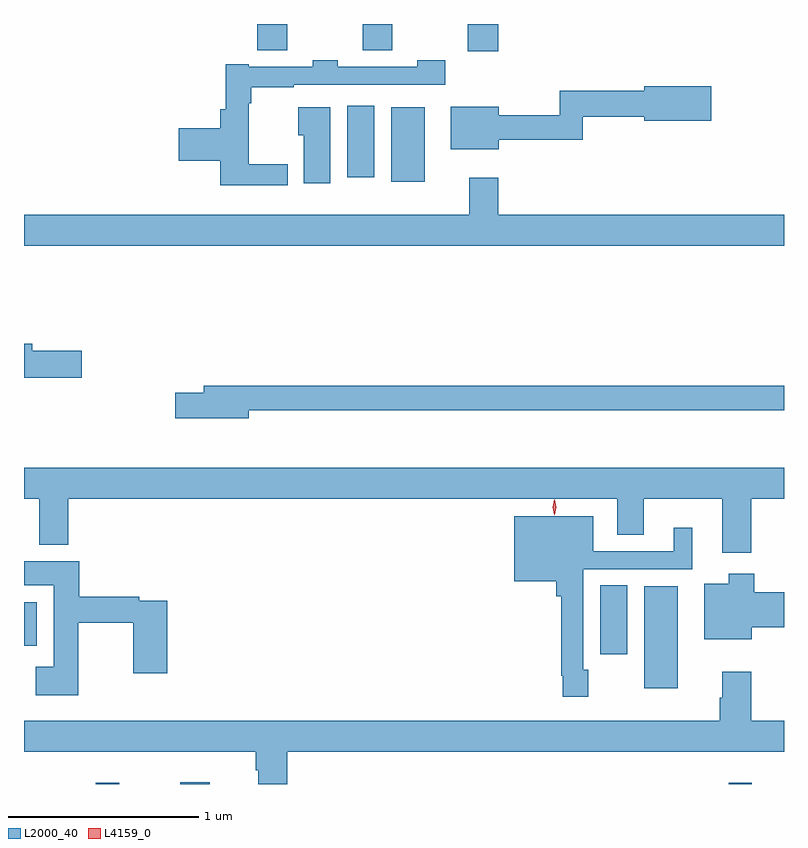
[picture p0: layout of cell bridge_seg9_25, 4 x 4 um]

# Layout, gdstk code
import gdstk
lib = gdstk.Library(unit=1e-6, precision=1e-09)
def R(c, l, rs):  # rectangles x0, y0, x1, y1
    for r in rs: c.add(gdstk.rectangle(r[:2], r[2:], *l))
def P(c, l, *ps):  # polygons
    for p in ps: c.add(gdstk.Polygon(p, *l))
L2000_40 = (2000, 40)
L4159_0 = (4159, 0)

bridge_seg9_25 = lib.new_cell('bridge_seg9_25')
R(bridge_seg9_25, L2000_40, [(1010.738,1200.247,1010.86,1200.253), (1011.182,1200.247,1011.337,1200.256), (1014.068,1200.247,1014.19,1200.253), (1013.624,1200.752,1013.8,1201.288), (1013.393,1200.93,1013.536,1201.292), (1010.36,1200.974,1010.428,1201.204), (1012.292,1203.416,1012.468,1203.808), (1012.061,1203.441,1012.204,1203.817), (1012.696,1204.104,1012.856,1204.247), (1011.587,1204.108,1011.746,1204.247), (1012.144,1204.108,1012.298,1204.247)])
P(bridge_seg9_25, L2000_40, [(1011.748,1203.508),(1011.542,1203.508),(1011.542,1203.83),(1011.557,1203.83),(1011.557,1203.915),(1011.779,1203.915),(1011.779,1203.927),(1012.576,1203.927),(1012.576,1204.056),(1012.431,1204.056),(1012.431,1204.023),(1012.011,1204.023),(1012.011,1204.056),(1011.879,1204.056),(1011.879,1204.023),(1011.544,1204.023),(1011.544,1204.036),(1011.421,1204.036),(1011.421,1203.799),(1011.392,1203.799),(1011.392,1203.698),(1011.174,1203.698),(1011.174,1203.527),(1011.392,1203.527),(1011.392,1203.398),(1011.748,1203.398)],
  [(1012.858,1203.639),(1013.302,1203.639),(1013.302,1203.76),(1013.624,1203.76),(1013.624,1203.737),(1013.977,1203.737),(1013.977,1203.92),(1013.624,1203.92),(1013.624,1203.896),(1013.181,1203.896),(1013.181,1203.767),(1012.858,1203.767),(1012.858,1203.811),(1012.607,1203.811),(1012.607,1203.587),(1012.858,1203.587)],
  [(1011.973,1203.808),(1011.803,1203.808),(1011.803,1203.661),(1011.833,1203.661),(1011.833,1203.408),(1011.973,1203.408)],
  [(1014.36,1203.244),(1012.856,1203.244),(1012.856,1203.439),(1012.703,1203.439),(1012.703,1203.244),(1010.36,1203.244),(1010.36,1203.08),(1014.36,1203.08)],
  [(1010.665,1202.528),(1010.404,1202.528),(1010.404,1202.564),(1010.36,1202.564),(1010.36,1202.386),(1010.665,1202.386)],
  [(1011.544,1202.214),(1014.36,1202.214),(1014.36,1202.342),(1011.305,1202.342),(1011.305,1202.306),(1011.156,1202.306),(1011.156,1202.171),(1011.544,1202.171)],
  [(1014.188,1201.748),(1014.36,1201.748),(1014.36,1201.912),(1010.36,1201.912),(1010.36,1201.748),(1010.441,1201.748),(1010.441,1201.505),(1010.594,1201.505),(1010.594,1201.748),(1013.483,1201.748),(1013.483,1201.558),(1013.623,1201.558),(1013.623,1201.748),(1014.035,1201.748),(1014.035,1201.464),(1014.188,1201.464)],
  [(1013.331,1200.849),(1013.304,1200.849),(1013.304,1201.377),(1013.878,1201.377),(1013.878,1201.597),(1013.78,1201.597),(1013.78,1201.473),(1013.356,1201.473),(1013.356,1201.657),(1012.94,1201.657),(1012.94,1201.313),(1013.162,1201.313),(1013.162,1201.235),(1013.188,1201.235),(1013.188,1200.817),(1013.196,1200.817),(1013.196,1200.705),(1013.331,1200.705)],
  [(1010.646,1201.096),(1010.935,1201.096),(1010.935,1200.831),(1011.113,1200.831),(1011.113,1201.212),(1010.966,1201.212),(1010.966,1201.232),(1010.651,1201.232),(1010.651,1201.42),(1010.36,1201.42),(1010.36,1201.292),(1010.516,1201.292),(1010.516,1200.865),(1010.421,1200.865),(1010.421,1200.713),(1010.646,1200.713)],
  [(1014.19,1201.073),(1014.36,1201.073),(1014.36,1201.256),(1014.203,1201.256),(1014.203,1201.354),(1014.068,1201.354),(1014.068,1201.3),(1013.939,1201.3),(1013.939,1201.01),(1014.19,1201.01)],
  [(1011.746,1200.416),(1014.36,1200.416),(1014.36,1200.58),(1014.188,1200.58),(1014.188,1200.838),(1014.035,1200.838),(1014.035,1200.701),(1014.023,1200.701),(1014.023,1200.58),(1010.36,1200.58),(1010.36,1200.416),(1011.581,1200.416),(1011.581,1200.32),(1011.593,1200.32),(1011.593,1200.247),(1011.746,1200.247)])
P(bridge_seg9_25, L4159_0, [(1013.152,1201.665),(1013.152,1201.665),(1013.142,1201.704),(1013.152,1201.743),(1013.152,1201.743),(1013.153,1201.743),(1013.162,1201.704),(1013.153,1201.665)])

lib.write_gds('bridge_seg9_25.gds')
